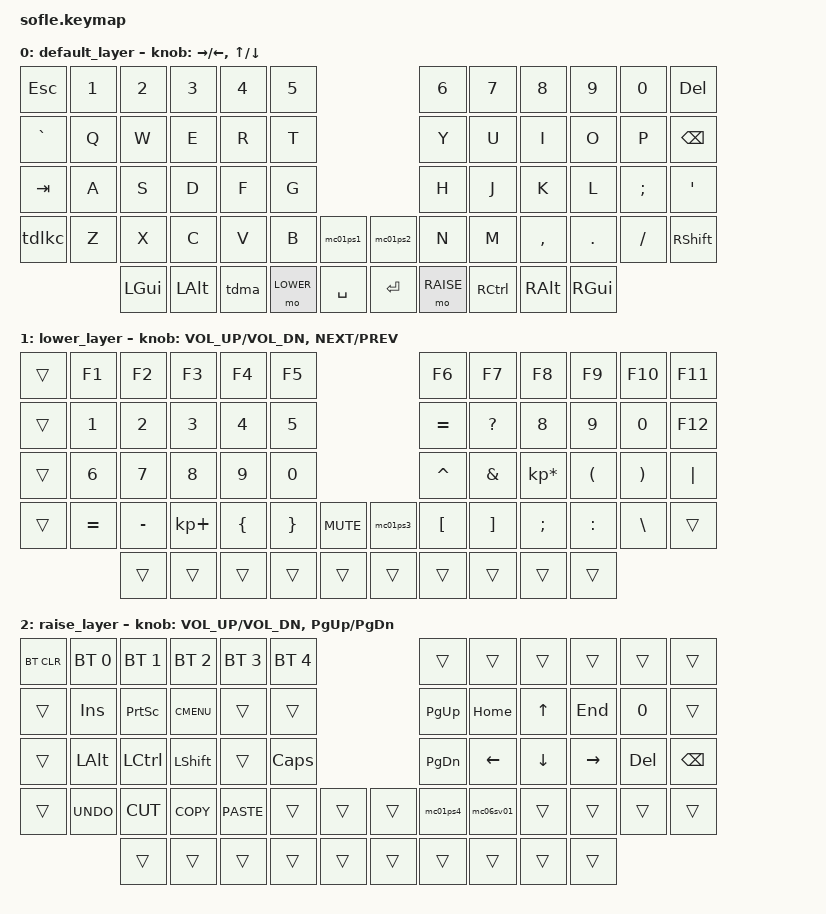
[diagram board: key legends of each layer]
/*
 * Copyright (c) 2020 The ZMK Contributors
 *
 * SPDX-License-Identifier: MIT
 */

#include <behaviors.dtsi>
#include <dt-bindings/zmk/keys.h>
#include <dt-bindings/zmk/bt.h>

// Personal includes
#include "includes/macros.dtsi"
#include "includes/tapdance.dtsi"

#define BASE 0
#define LOWER 1
#define RAISE 2

&sk {
    release-after-ms = <10800000>;
};

/ {

    keymap {
        compatible = "zmk,keymap";

        default_layer {
// ------------------------------------------------------------------------------------------------------------
// |  ESC  |  1  |  2  |  3   |  4   |  5   |                   |  6   |  7    |  8    |  9   |   0   |  DEL  |
// |  `    |  Q  |  W  |  E   |  R   |  T   |                   |  Y   |  U    |  I    |  O   |   P   | BKSPC |
// |  TAB  |  A  |  S  |  D   |  F   |  G   |                   |  H   |  J    |  K    |  L   |   ;   |   '   |
// | SHIFT |  Z  |  X  |  C   |  V   |  B   |  cnt1  |  | cnt2  |  N   |  M    |  ,    |  .   |   /   | SHIFT |
//               | GUI | ALT  | CTRL | LOWER|  SPACE |  | ENTER | RAISE| CTRL  | ALT   | GUI  |
            bindings = <
&kp ESC   &kp N1 &kp N2   &kp N3   &kp N4    &kp N5                         &kp N6    &kp N7    &kp N8    &kp N9   &kp N0   &kp DEL
&kp GRAVE &kp Q  &kp W    &kp E    &kp R     &kp T                          &kp Y     &kp U     &kp I     &kp O    &kp P    &kp BSPC
&kp TAB   &kp A  &kp S    &kp D    &kp F     &kp G                          &kp H     &kp J     &kp K     &kp L    &kp SEMI &kp SQT
&tdlkc    &kp Z  &kp X    &kp C    &kp V     &kp B      &mc01ps1  &mc01ps2  &kp N     &kp M     &kp COMMA &kp DOT  &kp FSLH &kp RSHFT
                 &kp LGUI &kp LALT &tdma     &mo LOWER  &kp SPACE &kp RET   &mo RAISE &kp RCTRL &kp RALT  &kp RGUI
            >;

            sensor-bindings = <&inc_dec_kp RIGHT LEFT &inc_dec_kp UP DOWN>;
        };

        lower_layer {
// TODO: Some binds are waiting for shifted keycode support.
// ------------------------------------------------------------------------------------------------------------
// |       |  F1 |  F2 |  F3  |  F4  |  F5  |                   |  F6  |  F7   |  F8   |  F9  |  F10  |  F11  |
// |       |  1  |  2  |   3  |   4  |   5  |                   |  =   |  ?    |   8   |   9  |    0  |  F12  |
// |       |  6  |  7  |   8  |   9  |   0  |                   |  ^   |  &    |  *    |  (   |   )   |   |   |
// |       |  =  |  -  |  +   |  {   |  }   |  MUTE  |  |       |  [   |  ]    |  ;    |  :   |   \   |       |
//               |     |      |      |      |        |  |       |      |       |       |      |
            bindings = <
&trans    &kp F1    &kp F2    &kp F3      &kp F4    &kp F5                        &kp F6    &kp F7    &kp F8          &kp F9    &kp F10   &kp F11
&trans    &kp N1    &kp N2    &kp N3      &kp N4    &kp N5                        &kp EQUAL &kp QMARK &kp N8          &kp N9    &kp N0    &kp F12
&trans    &kp N6    &kp N7    &kp N8      &kp N9    &kp N0                        &kp CARET &kp AMPS  &kp KP_MULTIPLY &kp LPAR  &kp RPAR  &kp PIPE
&trans    &kp EQUAL &kp MINUS &kp KP_PLUS &kp LBRC  &kp RBRC  &kp C_MUTE &mc01ps3 &kp LBKT  &kp RBKT  &kp SEMI        &kp COLON &kp BSLH  &trans
                    &trans    &trans      &trans    &trans    &trans     &trans   &trans    &trans    &trans          &trans
            >;

            sensor-bindings = <&inc_dec_kp C_VOL_UP C_VOL_DN &inc_dec_kp C_NEXT C_PREV>;
        };

        raise_layer {
// ------------------------------------------------------------------------------------------------------------
// |BTCLR| BT1  | BT2  |  BT3  |  BT4  |  BT5 |                |      |      |       |      |       |       |
// |     | INS  | PSCR | GUI   |       |      |                | PGUP | HOME |   ^   | END  |       |       |
// |     | ALT  | CTRL | SHIFT |       | CAPS |                | PGDN |   <- |   v   |  ->  |  DEL  | BKSPC |
// |     | UNDO | CUT  | COPY  | PASTE |      |      |  |      | cnt1 |      |       |      |       |       |
//              |      |       |       |      |      |  |      |      |      |       |      |
            bindings = <
&bt BT_CLR &bt BT_SEL 0 &bt BT_SEL 1 &bt BT_SEL 2 &bt BT_SEL 3 &bt BT_SEL 4             &trans    &trans    &trans   &trans    &trans  &trans
&trans     &kp INS      &kp PSCRN    &kp K_CMENU  &trans       &trans                   &kp PG_UP &kp HOME  &kp UP   &kp END   &kp N0  &trans
&trans     &kp LALT     &kp LCTRL    &kp LSHFT    &trans       &kp CLCK                 &kp PG_DN &kp LEFT  &kp DOWN &kp RIGHT &kp DEL &kp BSPC
&trans     &kp K_UNDO   &kp K_CUT    &kp K_COPY   &kp K_PASTE  &trans  &trans   &trans  &mc01ps4  &mc06sv01 &trans   &trans    &trans  &trans
                        &trans       &trans       &trans       &trans  &trans   &trans  &trans    &trans    &trans   &trans
            >;

            sensor-bindings = <&inc_dec_kp C_VOL_UP C_VOL_DN &inc_dec_kp PG_UP PG_DN>;
        };
    };
};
